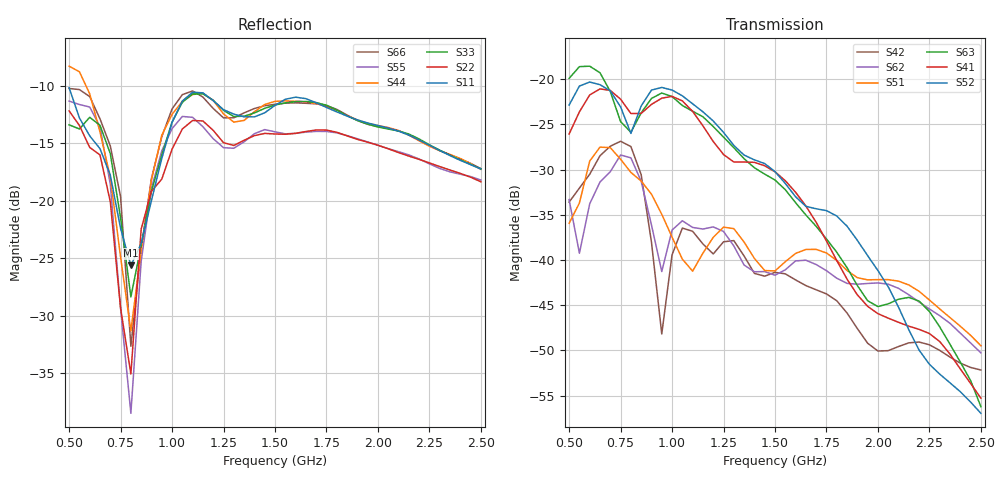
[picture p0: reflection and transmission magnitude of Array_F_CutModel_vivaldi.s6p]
! Touchstone file exported from HFSS 2023.2.0
!  File:  C:/Users/aapoi/Documents/Escuela/Maestria/EMT/HFSS/Array_F_CutModel_vivaldi.aedt
!  Generated:  12:48:58 PM  Aug 18, 2025
!  Design:  HFSSDesign1
!  Project:  Array_F_CutModel_vivaldi
!  Setup:  Setup1
!  Solution:  Sweep
! Variables:
!  $Bladder_Full_X_Shift = 2.5cm
!  $Bladder_Full_Z_Shift = 3cm
!  $Bladder_shift_from_PB = 35mm
!  $Pubic_Bone_Angle = 55deg
!  $ant_base_offset = 25mm
!  $ant_rot = 8.59788deg
!  $ant_sweep_shift = 25mm
!  $anteposterior_diameter = 10.49cm
!  $axial_bladder_diam = 80mm
!  $back_pelvic_bone_height = 0.1125meter
!  $back_pelvic_bone_rectangle_Xshift = 64.3578981445632mm
!  $bladder_wall_thickness = 3.15mm
!  $body_axial_ratio = 1.59973110444618
!  $body_major_rad = 10.6361cm
!  $body_minor_rad = 17.0149cm
!  $center_bladder_rad = 0.073838504391812meter
!  $coccyx_thickness = -15.5mm
!  $coccyx_tip_width = 10mm
!  $cone_angle_sacrococcyx = 33.56deg
!  $coronal_bladder_diam = 80mm
!  $end_u = 450deg
!  $end_v = 270deg
!  $fat_thickness = 13.5031018554368mm
!  $front_pelvic_bone_height = 55mm
!  $mix_major_rad = 0.0808578981445632meter
!  $model_height = 0.15meter
!  $muscle_thickness = 0.01meter
!  $pelvis_angle = 55deg
!  $pubic_bone_thickness = 16.5mm
!  $rad_curve_back_bones = 89.2mm
!  $sacrum_top_width = 88mm
!  $sagittal_bladder_diam = 100mm
!  $skin_thickness = 0.002meter
!  $start_u = 90deg
!  $start_v = 90deg
!  $striaght_sacrococcyx_length = 126mm
!  $transverse_diameter = 13cm
!  $x_bladder_rad = 50mm
!  $y_bladder_rad = 40mm
!  $z_bladder_rad = 40mm
!  Ad = 1mm
!  An = 5.5mm
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# GHz S MA R 50.000000
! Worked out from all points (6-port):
!   41 points, 500 MHz to 2.5 GHz, reference 50 ohm
!   strongest paths, dB at 500 MHz, 1 GHz, 1.5 GHz, 2 GHz, 2.5 GHz:
!     S52: -22.9, -21.2, -30.2, -41.2, -57.0
!     S41: -26.1, -21.9, -30.2, -45.9, -55.3
!     S63: -19.9, -21.9, -31.1, -45.2, -56.2
!     S51: -35.9, -37.5, -41.2, -42.2, -49.5
!     S62: -33.3, -36.7, -41.7, -42.5, -50.3
!     S42: -33.6, -39.4, -41.4, -50.1, -52.2
!   lowest |S11| = -25.6 dB at 800 MHz (marker M1), VSWR 1.11, Z = 50.1 - j5.25 ohm
!   |S11| at or under -10 dB: start of sweep to end of sweep
